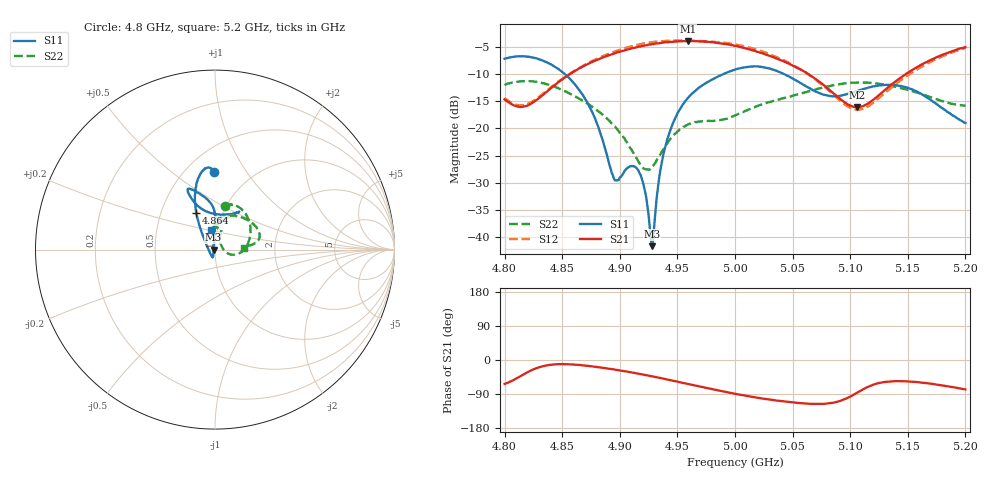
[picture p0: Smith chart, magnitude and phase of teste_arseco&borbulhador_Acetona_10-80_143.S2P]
! Network Analyzer HP8722D
! Hewlett-Packard
! Data name: Linha & Wilkinson
! Saver's name: Rodrigo Anjos
! Comments: Teste da utilização de aquisição
! continua pelo VNA HP8722D
! Time and date: 25/4/2025 16:27
!  Frequency  S11  S21  S12  S22
# HZ  S  MA R 50
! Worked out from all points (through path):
!   401 points, 4.8 GHz to 5.2 GHz, reference 50 ohm
!   highest |S21| = -3.97 dB at 4.959 GHz (marker M1); lowest = -16.1 dB at 5.106 GHz (marker M2)
!   lowest |S11| = -41.6 dB at 4.928 GHz (marker M3), VSWR 1.02, Z = 49.2 + j0.0467 ohm
!   |S11| at or under -10 dB: 4.852 GHz to 4.99 GHz (138.3 MHz wide, 2.81 % of centre); 5.042 GHz to end of sweep
!   |S22| runs from -27.6 to -11.3 dB; largest |S21 - S12| = 1.2
!   S11 on the Smith chart (normalised r, x): 4.8 GHz: 0.68, +0.73; 4.864 GHz: 0.75, +0.33; 5.2 GHz: 0.94, +0.21
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4.8e9  0.4351 90.7  0.1845 -63.3  0.1898 70.1  0.249 76.8
4.82e9  0.4529 96.9  0.1619 -31.8  0.1676 99.0  0.2719 61.7
4.843e9  0.3713 106.3  0.2471 -11.7  0.2505 119.0  0.2423 36.5
4.864e9  0.2316 116.8  0.3513 -13.0  0.3548 121.0  0.1893 11.7
4.867e9  0.2087 118.6  0.3646 -13.9  0.3692 120.6  0.1824 8.2
4.88e9  0.1116 129.0  0.4234 -18.4  0.4344 118.2  0.1472 -5.6
4.895e9  0.03426 -174.4  0.4852 -25.1  0.5022 113.6  0.1057 -15.7
4.91e9  0.04501 -108.0  0.5402 -32.6  0.565 106.9  0.06424 -13.5
4.917e9  0.03902 -105.4  0.563 -36.7  0.589 103.4  0.04792 -0.3
4.922e9  0.02612 -109.8  0.5763 -39.5  0.6018 100.5  0.04222 16.8
4.928e9  0.008296 176.7  0.5927 -43.1  0.6188 96.9  0.04388 42.2
4.93e9  0.01322 126.0  0.5968 -44.4  0.6211 95.5  0.04704 49.2
4.934e9  0.03404 100.7  0.6038 -46.8  0.6299 93.1  0.05554 58.7
4.944e9  0.09715 91.0  0.623 -53.3  0.6365 86.7  0.08045 69.4
4.959e9  0.1895 89.8  0.6328 -63.1  0.6382 77.2  0.1084 71.3
5e9  0.346 109.1  0.5708 -89.1  0.5889 50.7  0.1312 88.4
5.029e9  0.3562 115.1  0.4665 -103.9  0.4837 34.2  0.173 85.6
5.067e9  0.2265 105.2  0.2986 -115.9  0.2962 23.6  0.2221 56.9
5.106e9  0.2194 64.6  0.1564 -86.3  0.1485 56.8  0.263 24.6
5.134e9  0.2509 57.4  0.243 -56.6  0.2286 88.8  0.2477 12.3
5.169e9  0.1849 70.2  0.4198 -62.2  0.4035 84.7  0.1945 6.8
5.2e9  0.112 100.8  0.5557 -77.7  0.5461 70.0  0.1617 3.6
